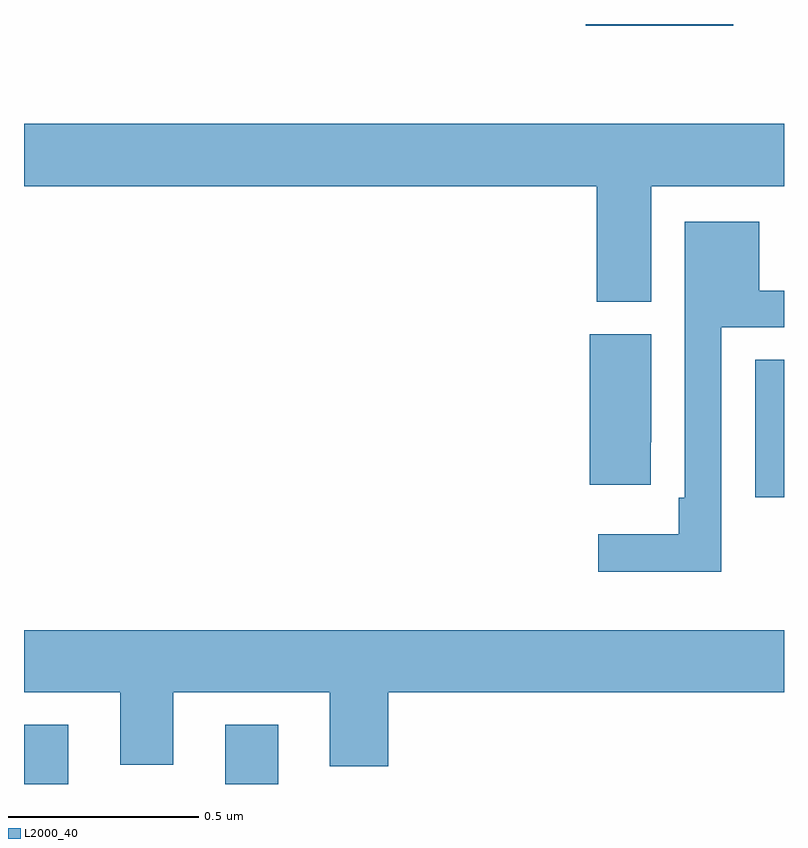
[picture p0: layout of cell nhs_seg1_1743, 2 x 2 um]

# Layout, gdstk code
import gdstk
lib = gdstk.Library(unit=1e-6, precision=1e-09)
def R(c, l, rs):  # rectangles x0, y0, x1, y1
    for r in rs: c.add(gdstk.rectangle(r[:2], r[2:], *l))
def P(c, l, *ps):  # polygons
    for p in ps: c.add(gdstk.Polygon(p, *l))
L2000_40 = (2000, 40)

nhs_seg1_1743 = lib.new_cell('nhs_seg1_1743')
R(nhs_seg1_1743, L2000_40, [(133,510.199,133.117,510.355), (133.529,510.199,133.669,510.355), (134.924,510.954,135,511.316), (134.478,512.195,134.866,512.199)])
P(nhs_seg1_1743, L2000_40, [(134.65,511.772),(135,511.772),(135,511.936),(133,511.936),(133,511.772),(134.507,511.772),(134.507,511.468),(134.65,511.468)],
  [(134.835,511.401),(135,511.401),(135,511.497),(134.935,511.497),(134.935,511.678),(134.739,511.678),(134.739,510.952),(134.723,510.952),(134.723,510.856),(134.511,510.856),(134.511,510.758),(134.835,510.758)],
  [(134.649,511.099),(134.65,511.099),(134.65,511.383),(134.489,511.383),(134.489,510.987),(134.649,510.987)],
  [(133.958,510.44),(135,510.44),(135,510.604),(133,510.604),(133,510.44),(133.253,510.44),(133.253,510.25),(133.393,510.25),(133.393,510.44),(133.805,510.44),(133.805,510.246),(133.958,510.246)])

lib.write_gds('nhs_seg1_1743.gds')
